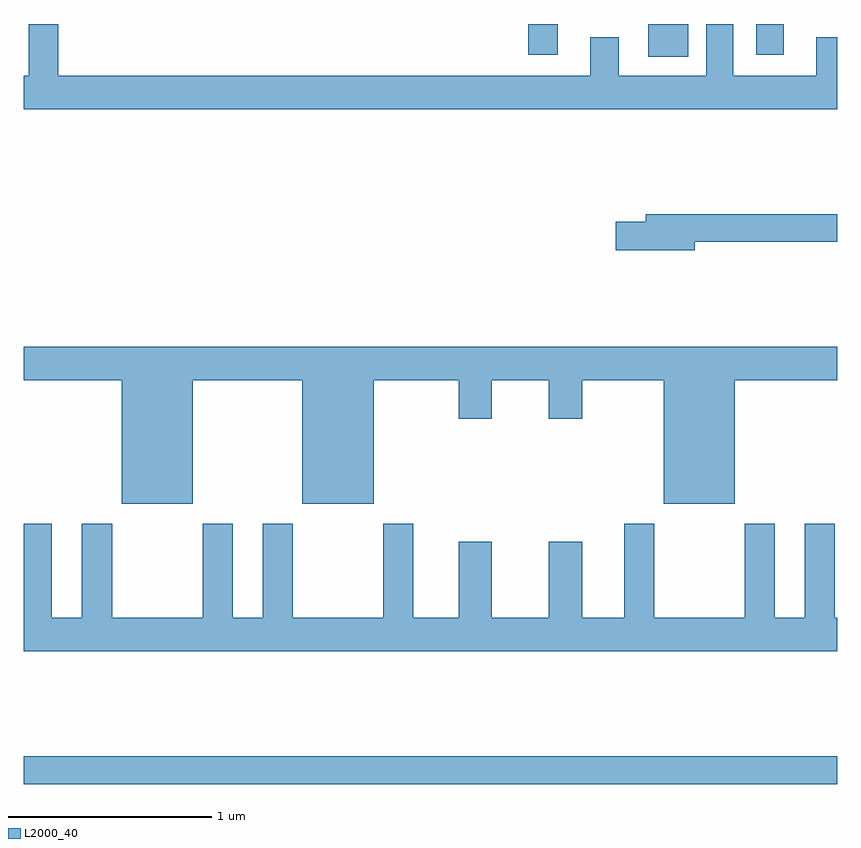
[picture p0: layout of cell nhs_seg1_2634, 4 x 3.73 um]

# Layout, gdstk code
import gdstk
lib = gdstk.Library(unit=1e-6, precision=1e-09)
def R(c, l, rs):  # rectangles x0, y0, x1, y1
    for r in rs: c.add(gdstk.rectangle(r[:2], r[2:], *l))
def P(c, l, *ps):  # polygons
    for p in ps: c.add(gdstk.Polygon(p, *l))
L2000_40 = (2000, 40)

nhs_seg1_2634 = lib.new_cell('nhs_seg1_2634')
R(nhs_seg1_2634, L2000_40, [(255,500.464,259,500.6), (258.071,504.038,258.267,504.199), (257.48,504.048,257.626,504.199), (258.602,504.048,258.736,504.199)])
P(nhs_seg1_2634, L2000_40, [(259,504.134),(258.896,504.134),(258.896,503.944),(258.487,503.944),(258.487,504.199),(258.356,504.199),(258.356,503.944),(257.926,503.944),(257.926,504.134),(257.786,504.134),(257.786,503.944),(255.17,503.944),(255.17,504.199),(255.026,504.199),(255.026,503.944),(255,503.944),(255,503.78),(259,503.78)],
  [(258.298,503.128),(259,503.128),(259,503.264),(258.059,503.264),(258.059,503.228),(257.91,503.228),(257.91,503.086),(258.298,503.086)],
  [(255.832,502.448),(256.37,502.448),(256.37,501.842),(256.72,501.842),(256.72,502.448),(257.138,502.448),(257.138,502.26),(257.302,502.26),(257.302,502.448),(257.582,502.448),(257.582,502.26),(257.746,502.26),(257.746,502.448),(258.146,502.448),(258.146,501.842),(258.496,501.842),(258.496,502.448),(259,502.448),(259,502.612),(255,502.612),(255,502.448),(255.482,502.448),(255.482,501.842),(255.832,501.842)],
  [(259,501.28),(258.987,501.28),(258.987,501.742),(258.839,501.742),(258.839,501.28),(258.691,501.28),(258.691,501.742),(258.544,501.742),(258.544,501.28),(258.099,501.28),(258.099,501.742),(257.951,501.742),(257.951,501.28),(257.746,501.28),(257.746,501.655),(257.582,501.655),(257.582,501.28),(257.302,501.28),(257.302,501.655),(257.138,501.655),(257.138,501.28),(256.915,501.28),(256.915,501.742),(256.767,501.742),(256.767,501.28),(256.323,501.28),(256.323,501.742),(256.175,501.742),(256.175,501.28),(256.027,501.28),(256.027,501.742),(255.88,501.742),(255.88,501.28),(255.435,501.28),(255.435,501.742),(255.287,501.742),(255.287,501.28),(255.139,501.28),(255.139,501.742),(255,501.742),(255,501.116),(259,501.116)])

lib.write_gds('nhs_seg1_2634.gds')
